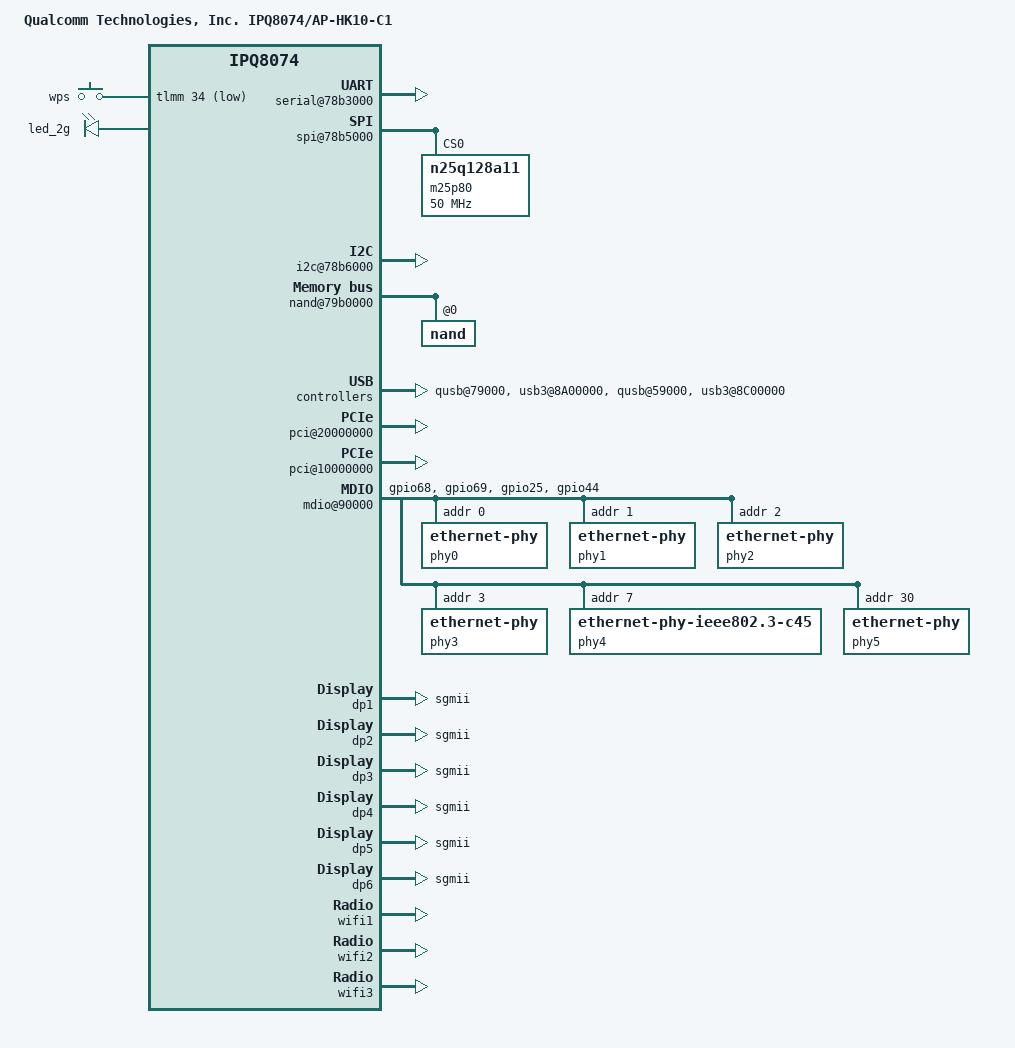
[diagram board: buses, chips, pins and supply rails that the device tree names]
// SPDX-License-Identifier: GPL-2.0-only
/dts-v1/;
/* Copyright (c) 2020 The Linux Foundation. All rights reserved.
 */
#include "ipq8074.dtsi"
#include "ipq8074-hk-cpu.dtsi"

/ {
	#address-cells = <0x2>;
	#size-cells = <0x2>;
	model = "Qualcomm Technologies, Inc. IPQ8074/AP-HK10-C1";
	compatible = "qcom,ipq8074-ap-hk10-c1", "qcom,ipq8074-ap-hk10", "qcom,ipq8074";
	qcom,msm-id = <0x143 0x0>, <0x186 0x0>;
	interrupt-parent = <&intc>;

	aliases {
		serial0 = &blsp1_uart5;
		/* Aliases as required by u-boot to patch MAC addresses */
		ethernet0 = "/soc/dp1";
		ethernet1 = "/soc/dp2";
		ethernet2 = "/soc/dp3";
		ethernet3 = "/soc/dp4";
		ethernet4 = "/soc/dp5";
		ethernet5 = "/soc/dp6";
	};

	chosen {
		stdout-path = "serial0";
	};

	reserved-memory {
/* No Pine attach in 256M profile */
#if !defined(__IPQ_MEM_PROFILE_256_MB__)
#ifdef __IPQ_MEM_PROFILE_512_MB__
	/*                      512 MB Profile
	 * +========+==============+=========================+
	 * | Region | Start Offset |          Size           |
	 * +--------+--------------+-------------------------+
	 * |  NSS   |  0x40000000  |          16MB           |
	 * +--------+--------------+-------------------------+
	 * | Linux  |  0x41000000  | Depends on total memory |
	 * +--------+--------------+-------------------------+
	 * | TZ APP |  0x4A400000  |           1MB           |
	 * +--------+--------------+-------------------------+
	 * | uboot  |  0x4A600000  |           4MB           |
	 * +--------+--------------+-------------------------+
	 * |  SBL   |  0x4AA00000  |           1MB           |
	 * +--------+--------------+-------------------------+
	 * |  smem  |  0x4AB00000  |           1MB           |
	 * +--------+--------------+-------------------------+
	 * |   TZ   |  0x4AC00000  |           4MB           |
	 * +--------+--------------+-------------------------+
	 * |   Q6   |  0x4B000000  |          55MB           |
	 * +--------+--------------+-------------------------+
	 * |  QDSS  |  0x4E700000  |           1MB           |
	 * +--------+--------------+-------------------------+
	 * | M3 Dump|  0x4E800000  |           1MB           |
	 * +--------+--------------+-------------------------+
	 * |  Pine0 |  0x4E900000  |          26MB           |
	 * +--------+--------------+-------------------------+
	 * |  Pine1 |  0x50300000  |          26MB           |
	 * +--------+--------------+-------------------------+
	 * |  MHI0  |  0x51D00000  |           9MB           |
	 * +--------+--------------+-------------------------+
	 * |  MHI1  |  0x52600000  |           9MB           |
	 * +--------+--------------+-------------------------+
	 * |                                                 |
	 * |          Rest of the memory for Linux           |
	 * |                                                 |
	 * +=================================================+
	 */
		qcn9000_pcie0: qcn9000_pcie0@4e900000 {
			no-map;
			reg = <0x0 0x4E900000 0x0 0x01A00000>;
		};

		qcn9000_pcie1: qcn9000_pcie1@50300000 {
			no-map;
			reg = <0x0 0x50300000 0x0 0x01A00000>;
		};

#if defined(__CNSS2__)
		mhi_region0: dma_pool0@51D00000 {
			compatible = "shared-dma-pool";
			no-map;
			reg = <0x0 0x51D00000 0x0 0x00900000>;
		};

		mhi_region1: dma_pool1@52600000 {
			compatible = "shared-dma-pool";
			no-map;
			reg = <0x0 0x52600000 0x0 0x00900000>;
		};
#endif
#else
	/*                   Default Profile
	 * +========+==============+=========================+
	 * | Region | Start Offset |          Size           |
	 * +--------+--------------+-------------------------+
	 * |  NSS   |  0x40000000  |          16MB           |
	 * +--------+--------------+-------------------------+
	 * | Linux  |  0x41000000  | Depends on total memory |
	 * +--------+--------------+-------------------------+
	 * | TZ APP |  0x4A400000  |           2MB           |
	 * +--------+--------------+-------------------------+
	 * | uboot  |  0x4A600000  |           4MB           |
	 * +--------+--------------+-------------------------+
	 * |  SBL   |  0x4AA00000  |           1MB           |
	 * +--------+--------------+-------------------------+
	 * |  smem  |  0x4AB00000  |           1MB           |
	 * +--------+--------------+-------------------------+
	 * |   TZ   |  0x4AC00000  |           4MB           |
	 * +--------+--------------+-------------------------+
	 * |   Q6   |  0x4B000000  |          95MB           |
	 * +--------+--------------+-------------------------+
	 * |  QDSS  |  0x50F00000  |           1MB           |
	 * +--------+--------------+-------------------------+
	 * | M3 Dump|  0x51000000  |           1MB           |
	 * +--------+--------------+-------------------------+
	 * |  Pine0 |  0x51100000  |          53MB           |
	 * +--------+--------------+-------------------------+
	 * |  Pine1 |  0x54600000  |          53MB           |
	 * +--------+--------------+-------------------------+
	 * |  MHI0  |  0x57B00000  |           5MB           |
	 * +--------+--------------+-------------------------+
	 * |  MHI1  |  0x58000000  |           5MB           |
	 * +--------+--------------+-------------------------+
	 * |                                                 |
	 * |          Rest of the memory for Linux           |
	 * |                                                 |
	 * +=================================================+
	 */
		qcn9000_pcie0: qcn9000_pcie0@51100000 {
			no-map;
			reg = <0x0 0x51100000 0x0 0x03500000>;
		};

		qcn9000_pcie1: qcn9000_pcie1@54600000 {
			no-map;
			reg = <0x0 0x54600000 0x0 0x03500000>;
		};

#if defined(__CNSS2__)
		mhi_region0: dma_pool0@57b00000 {
			compatible = "shared-dma-pool";
			no-map;
			reg = <0x0 0x57B00000 0x0 0x00500000>;
		};

		mhi_region1: dma_pool1@58000000 {
			compatible = "shared-dma-pool";
			no-map;
			reg = <0x0 0x58000000 0x0 0x00500000>;
		};
#endif
#endif
#endif
	};

	soc {
		pinctrl@1000000 {
			button_pins: button_pins {
				wps_button {
					pins = "gpio34";
					function = "gpio";
					drive-strength = <8>;
					bias-pull-up;
				};
			};

			usb_mux_sel_pins: usb_mux_pins {
				mux {
					pins = "gpio27";
					function = "gpio";
					drive-strength = <8>;
					bias-pull-down;
				};
			};

			pcie0_pins: pcie_pins {
				pcie0_rst {
					pins = "gpio58";
					function = "pcie0_rst";
					drive-strength = <8>;
					bias-pull-down;
				};
				pcie0_wake {
					pins = "gpio59";
					function = "pcie0_wake";
					drive-strength = <8>;
					bias-pull-down;
				};
			};

			mdio_pins: mdio_pinmux {
				mux_0 {
					pins = "gpio68";
					function = "mdc";
					drive-strength = <8>;
					bias-pull-up;
				};
				mux_1 {
					pins = "gpio69";
					function = "mdio";
					drive-strength = <8>;
					bias-pull-up;
				};
				mux_2 {
					pins = "gpio25";
					function = "gpio";
					bias-pull-up;
				};
				mux_3 {
					pins = "gpio44";
					function = "gpio";
					bias-pull-up;
				};
			};

			uniphy_pins: uniphy_pinmux {
				mux1 {
					pins = "gpio27";
					function = "gpio";
					drive-strength = <16>;
					output-high;
					bias-pull-up;
				};
				mux2 {
					pins = "gpio60";
					function = "rx2";
					bias-disable;
				};
				sfp_tx {
					pins = "gpio59";
					function = "gpio";
					drive-strength = <8>;
					bias-pull-down;
					output-low;
				};
			};

			led_pins: led_pins {
				led_2g {
					pins = "gpio18";
					function = "gpio";
					drive-strength = <8>;
					bias-pull-down;
				};
			};
		};

		serial@78b3000 {
			status = "ok";
		};

		spi@78b5000 {
			status = "ok";
			pinctrl-0 = <&spi_0_pins>;
			pinctrl-names = "default";
			cs-select = <0>;

			m25p80@0 {
				  compatible = "n25q128a11";
				  #address-cells = <1>;
				  #size-cells = <1>;
				  reg = <0>;
				  spi-max-frequency = <50000000>;
			};
		};

		dma@7984000 {
			 status = "ok";
		};

		i2c@78b6000 {
			status = "ok";
		};

		nand@79b0000 {
			status = "ok";

			nand@0 {
				reg = <0>;
				#address-cells = <1>;
				#size-cells = <1>;

				nand-ecc-strength = <4>;
				nand-ecc-step-size = <512>;
				nand-bus-width = <8>;
			};
		};

		qusb@79000 {
			status = "ok";
		};

		ssphy@78000 {
			status = "ok";
		};

		usb3@8A00000 {
			status = "ok";
		};

		qusb@59000 {
			status = "ok";
		};

		ssphy@58000 {
			status = "ok";
		};

		usb3@8C00000 {
			status = "ok";
		};

		qcom,test@0 {
			status = "ok";
		};

		phy@84000 {
			status = "ok";
		};

		phy@86000 {
			status = "ok";
		};

		pci@20000000 {
			perst-gpio = <&tlmm 58 1>;
			status = "ok";

			pcie0_rp {
				reg = <0 0 0 0 0>;

				qcom,mhi@0 {
					reg = <0 0 0 0 0>;
					qrtr_instance_id = <0x20>;
					qti,disable-rddm-prealloc;
					qti,rddm-seg-len = <0x1000>;
#if defined(__CNSS2__)
#if !defined(__IPQ_MEM_PROFILE_256_MB__)
					memory-region = <0>,<&mhi_region0>;
#endif
#endif
				};
			};
		};

		phy@8e000 {
			status = "ok";
		};

		pci@10000000 {
			perst-gpio = <&tlmm 61 0x1>;
			status = "ok";

			pcie1_rp {
				reg = <0 0 0 0 0>;

				qcom,mhi@1 {
					reg = <0 0 0 0 0>;
					qrtr_instance_id = <0x21>;
					qti,disable-rddm-prealloc;
					qti,rddm-seg-len = <0x1000>;
#if defined(__CNSS2__)
#if !defined(__IPQ_MEM_PROFILE_256_MB__)
					memory-region = <0>,<&mhi_region1>;
#endif
#endif
				};
			};
		};

		mdio@90000 {
			pinctrl-0 = <&mdio_pins>;
			pinctrl-names = "default";
			phy-reset-gpio = <&tlmm 37 0>;
			phy0: ethernet-phy@0 {
				reg = <0>;
			};
			phy1: ethernet-phy@1 {
				reg = <1>;
			};
			phy2: ethernet-phy@2 {
				reg = <2>;
			};
			phy3: ethernet-phy@3 {
				reg = <3>;
			};
			phy4: ethernet-phy@4 {
				compatible ="ethernet-phy-ieee802.3-c45";
				reg = <7>;
			};
			phy5: ethernet-phy@5 {
				reg = <30>;
			};
		};

		ess-switch@3a000000 {
			pinctrl-0 = <&uniphy_pins>;
			pinctrl-names = "default";
			switch_cpu_bmp = <0x1>;  /* cpu port bitmap */
			switch_lan_bmp = <0x3e>; /* lan port bitmap */
			switch_wan_bmp = <0x40>; /* wan port bitmap */
			switch_mac_mode = <0x0>; /* mac mode for uniphy instance0*/
			switch_mac_mode1 = <0xd>; /* mac mode for uniphy instance1*/
			switch_mac_mode2 = <0xe>; /* mac mode for uniphy instance2*/
			bm_tick_mode = <0>; /* bm tick mode */
			tm_tick_mode = <0>; /* tm tick mode */
			qcom,port_phyinfo {
				port@0 {
					port_id = <1>;
					phy_address = <0>;
				};
				port@1 {
					port_id = <2>;
					phy_address = <1>;
				};
				port@2 {
					port_id = <3>;
					phy_address = <2>;
				};
				port@3 {
					port_id = <4>;
					phy_address = <3>;
				};
				port@4 {
					port_id = <5>;
					phy_address = <7>;
					ethernet-phy-ieee802.3-c45;
				};
				port@5 {
					port_id = <6>;
					phy_address = <30>;
					phy_i2c_address = <30>;
					phy-i2c-mode; /*i2c access phy */
					media-type = "sfp"; /* fiber mode */
				};
			};
		};

		gpio_keys {
			compatible = "gpio-keys";
			pinctrl-0 = <&button_pins>;
			pinctrl-names = "default";
			status = "ok";

			button@1 {
				label = "wps";
				linux,code = <KEY_WPS_BUTTON>;
				gpios = <&tlmm 34 GPIO_ACTIVE_LOW>;
				linux,input-type = <1>;
				debounce-interval = <60>;
			};
		};

		leds {
			compatible = "gpio-leds";
			pinctrl-0 = <&led_pins>;
			pinctrl-names = "default";

			led_2g {
				label = "led_2g";
				gpio = <&tlmm 18 GPIO_ACTIVE_HIGH>;
				default-state = "off";
			};
		};

		dp1 {
			device_type = "network";
			compatible = "qcom,nss-dp";
			qcom,id = <1>;
			reg = <0x3a001000 0x200>;
			qcom,mactype = <0>;
			local-mac-address = [000000000000];
			qcom,link-poll = <1>;
			qcom,phy-mdio-addr = <0>;
			phy-mode = "sgmii";
		};

		dp2 {
			device_type = "network";
			compatible = "qcom,nss-dp";
			qcom,id = <2>;
			reg = <0x3a001200 0x200>;
			qcom,mactype = <0>;
			local-mac-address = [000000000000];
			qcom,link-poll = <1>;
			qcom,phy-mdio-addr = <1>;
			phy-mode = "sgmii";
		};

		dp3 {
			device_type = "network";
			compatible = "qcom,nss-dp";
			qcom,id = <3>;
			reg = <0x3a001400 0x200>;
			qcom,mactype = <0>;
			local-mac-address = [000000000000];
			qcom,link-poll = <1>;
			qcom,phy-mdio-addr = <2>;
			phy-mode = "sgmii";
		};

		dp4 {
			device_type = "network";
			compatible = "qcom,nss-dp";
			qcom,id = <4>;
			reg = <0x3a001600 0x200>;
			qcom,mactype = <0>;
			local-mac-address = [000000000000];
			qcom,link-poll = <1>;
			qcom,phy-mdio-addr = <3>;
			phy-mode = "sgmii";
		};

		dp5 {
			device_type = "network";
			compatible = "qcom,nss-dp";
			qcom,id = <5>;
			reg = <0x3a003000 0x3fff>;
			qcom,mactype = <1>;
			local-mac-address = [000000000000];
			qcom,link-poll = <1>;
			qcom,phy-mdio-addr = <7>;
			phy-mode = "sgmii";
		};

		dp6 {
			device_type = "network";
			compatible = "qcom,nss-dp";
			qcom,id = <6>;
			reg = <0x3a007000 0x3fff>;
			qcom,mactype = <1>;
			local-mac-address = [000000000000];
			qcom,link-poll = <1>;
			qcom,phy-mdio-addr = <30>;
			phy-mode = "sgmii";
		};
	};
};

&wifi0 {
	/delete-property/ mem-region;
	status = "disabled";
};

&wifi1 {
	/* hw-mode id 7 belongs to PHYB2G mode
	 */
	wlan-hw-mode =  <7>;
	qcom,board_id = <0x216>;
	status = "ok";
};

&wifi2 {
#if !defined(__IPQ_MEM_PROFILE_256_MB__)
#ifdef __IPQ_MEM_PROFILE_512_MB__
      /* QCN9000 tgt-mem-mode=1 layout - 26MB
       * +=========+==============+=========+
       * |  Region | Start Offset |   Size  |
       * +---------+--------------+---------+
       * | HREMOTE |  0x4E900000  |   12MB  |
       * +---------+--------------+---------+
       * | M3 Dump |  0x4F500000  |   1MB   |
       * +---------+--------------+---------+
       * |   ETR   |  0x4F600000  |   1MB   |
       * +---------+--------------+---------+
       * |  Caldb  |  0x4F700000  |   8MB   |
       * +---------+--------------+---------+
       * | Pageable|  0x4FF00000  |   4MB   |
       * +==================================+
       */
	base-addr = <0x4E900000>;
	m3-dump-addr = <0x4F500000>;
	etr-addr = <0x4F600000>;
	caldb-addr = <0x4F700000>;
	pageable-addr = <0x4FF00000>;
	hremote-size = <0xC00000>;
	tgt-mem-mode = <0x1>;
	pageable-size = <0x400000>;
#else
      /* QCN9000 tgt-mem-mode=0 layout - 45MB
       * +=========+==============+=========+
       * |  Region | Start Offset |   Size  |
       * +---------+--------------+---------+
       * | HREMOTE |  0x51100000  |   35MB  |
       * +---------+--------------+---------+
       * | M3 Dump |  0x53400000  |   1MB   |
       * +---------+--------------+---------+
       * |   ETR   |  0x53500000  |   1MB   |
       * +---------+--------------+---------+
       * |  Caldb  |  0x53600000  |   8MB   |
       * +---------+--------------+---------+
       * | Pageable|  0x53E00000  |   8MB   |
       * +==================================+
       */
	base-addr = <0x51100000>;
	m3-dump-addr = <0x53400000>;
	etr-addr = <0x53500000>;
	caldb-addr = <0x53600000>;
	pageable-addr = <0x53E00000>;
	hremote-size = <0x2300000>;
	tgt-mem-mode = <0x0>;
	pageable-size = <0x800000>;
#endif
	hremote_node = <&qcn9000_pcie0>;
	caldb-size = <0x800000>;
	board_id = <0xa4>;
	status = "ok";
#endif
};

#if !defined(__IPQ_MEM_PROFILE_256_MB__)
&wifi3 {
#ifdef __IPQ_MEM_PROFILE_512_MB__
      /* QCN9000 tgt-mem-mode=1 layout - 30MB
       * +=========+==============+=========+
       * |  Region | Start Offset |   Size  |
       * +---------+--------------+---------+
       * | HREMOTE |  0x50300000  |   12MB  |
       * +---------+--------------+---------+
       * | M3 Dump |  0x50F00000  |   1MB   |
       * +---------+--------------+---------+
       * |   ETR   |  0x51000000  |   1MB   |
       * +---------+--------------+---------+
       * |  Caldb  |  0x51100000  |   8MB   |
       * +---------+--------------+---------+
       * | Pageable|  0x51900000  |   4MB   |
       * +==================================+
       */
	base-addr = <0x50300000>;
	m3-dump-addr = <0x50F00000>;
	etr-addr = <0x51000000>;
	caldb-addr = <0x51100000>;
	pageable-addr = <0x51900000>;
	hremote-size = <0xC00000>;
	tgt-mem-mode = <0x1>;
	pageable-size = <0x400000>;
#else
      /* QCN9000 tgt-mem-mode=0 layout - 45MB
       * +=========+==============+=========+
       * |  Region | Start Offset |   Size  |
       * +---------+--------------+---------+
       * | HREMOTE |  0x54600000  |   35MB  |
       * +---------+--------------+---------+
       * | M3 Dump |  0x56900000  |   1MB   |
       * +---------+--------------+---------+
       * |   ETR   |  0x56A00000  |   1MB   |
       * +---------+--------------+---------+
       * |  Caldb  |  0x56B00000  |   8MB   |
       * +---------+--------------+---------+
       * | Pageable|  0x57300000  |   8MB   |
       * +==================================+
       */
	base-addr = <0x54600000>;
	m3-dump-addr = <0x56900000>;
	etr-addr = <0x56A00000>;
	caldb-addr = <0x56B00000>;
	pageable-addr = <0x57300000>;
	hremote-size = <0x2300000>;
	tgt-mem-mode = <0x0>;
	pageable-size = <0x800000>;
#endif
	caldb-size = <0x800000>;
	hremote_node = <&qcn9000_pcie1>;
	board_id = <0xa3>;
	status = "ok";
};
#endif
